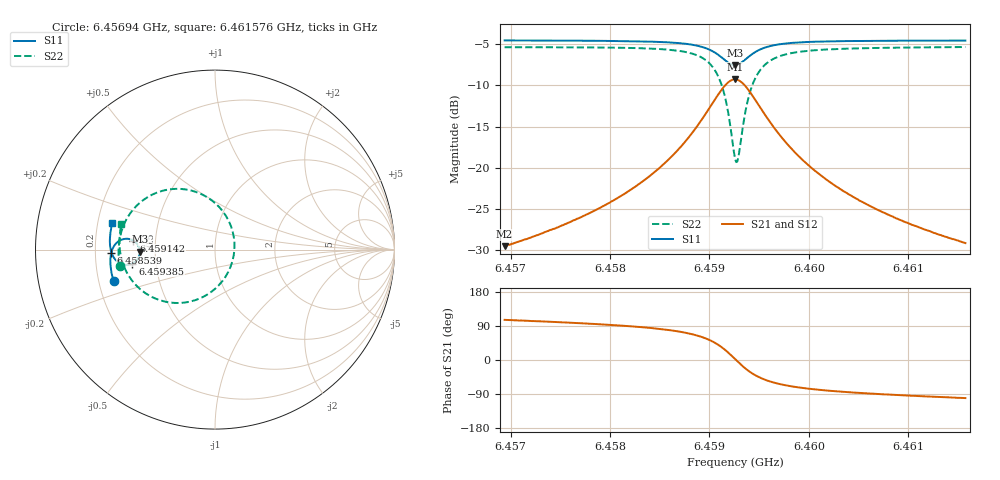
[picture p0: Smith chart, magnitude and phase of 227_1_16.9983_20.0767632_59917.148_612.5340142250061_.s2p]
#  HZ  S  RI  R  50.00
! Rohde & Schwarz Vector Network Analyzer
! Rohde-Schwarz,ZNB20-2Port,1311601062101988,3.16
! Created: UTC 3/20/2024, 11:02:12 PM
! freq[Hz]  re:S11  im:S11  re:S21  im:S21  re:S12  im:S12  re:S22  im:S22
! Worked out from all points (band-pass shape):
!   401 points, 6.45694 GHz to 6.461576 GHz, reference 50 ohm
!   highest |S21| = -9.28 dB at 6.459258 GHz (marker M1); lowest = -29.5 dB at 6.45694 GHz (marker M2)
!   |S21| within 3 dB of the highest: 6.459026 GHz to 6.45949 GHz (463.5 kHz wide, 0.00718 % of centre)
!   lowest |S11| = -7.6 dB at 6.459258 GHz (marker M3), VSWR 2.44, Z = 20.5 - j0.617 ohm
!   |S11| at or under -10 dB: nowhere
!   |S22| runs from -19.3 to -5.4 dB; largest |S21 - S12| = 0.013
!   S11 on the Smith chart (normalised r, x): 6.45694 GHz: 0.26, -0.14; 6.458539 GHz: 0.27, -0.01; 6.459142 GHz: 0.37, +0.05; 6.459385 GHz: 0.37, -0.07; 6.461576 GHz: 0.26, +0.12
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6.4569399e9  -0.5653 -0.1761  -0.00917 0.0321  -0.00742 0.0321  -0.5308 -0.0916
6.4577165e9  -0.58 -0.1085  -0.00605 0.0499  -0.00342 0.0494  -0.5373 -0.00125
6.4581453e9  -0.5832 -0.0655  -0.0001 0.0693  0.00301 0.0682  -0.53 0.0663
6.458493e9  -0.5797 -0.0242  0.0135 0.0982  0.0174 0.0955  -0.5053 0.1442
6.4585394e9  -0.5784 -0.0179  0.0167 0.1038  0.0208 0.1007  -0.4991 0.1574
6.4587596e9  -0.5652 0.016  0.045 0.1375  0.0491 0.1328  -0.4466 0.2339
6.4589102e9  -0.5427 0.0424  0.0898 0.1682  0.093 0.1616  -0.364 0.2988
6.4590493e9  -0.4991 0.0601  0.1763 0.1851  0.1775 0.1778  -0.2057 0.3386
6.459142e9  -0.4547 0.0502  0.2662 0.1546  0.2665 0.1486  -0.0397 0.2893
6.4591884e9  -0.4336 0.0314  0.3097 0.1119  0.311 0.1068  0.0431 0.2136
6.4592579e9  -0.4188 -0.0124  0.3432 0.0155  0.3468 0.00884  0.1084 0.0351
6.4592695e9  -0.4191 -0.0204  0.343 -0.00195  0.3469 -0.0096  0.1081 0.00177
6.4592927e9  -0.4227 -0.036  0.3377 -0.0365  0.3413 -0.0455  0.0973 -0.0637
6.4593391e9  -0.4382 -0.0619  0.3095 -0.096  0.3116 -0.1079  0.0406 -0.1762
6.4593854e9  -0.46 -0.0779  0.268 -0.137  0.2671 -0.1501  -0.0435 -0.2508
6.4594782e9  -0.5032 -0.0849  0.1837 -0.1684  0.1778 -0.1798  -0.2107 -0.2975
6.4596288e9  -0.5468 -0.0644  0.0964 -0.155  0.0881 -0.1612  -0.3774 -0.2492
6.4597911e9  -0.5683 -0.0368  0.0518 -0.1275  0.0442 -0.1303  -0.4578 -0.1782
6.4600345e9  -0.581 -0.00127  0.0226 -0.0964  0.0169 -0.097  -0.506 -0.0962
6.4603358e9  -0.5855 0.0347  0.00795 -0.0725  0.00375 -0.0722  -0.5263 -0.0263
6.460811e9  -0.5839 0.0828  -0.00113 -0.0516  -0.00396 -0.0508  -0.5324 0.0508
6.461576e9  -0.5716 0.1503  -0.00637 -0.0343  -0.00807 -0.0335  -0.5214 0.141
